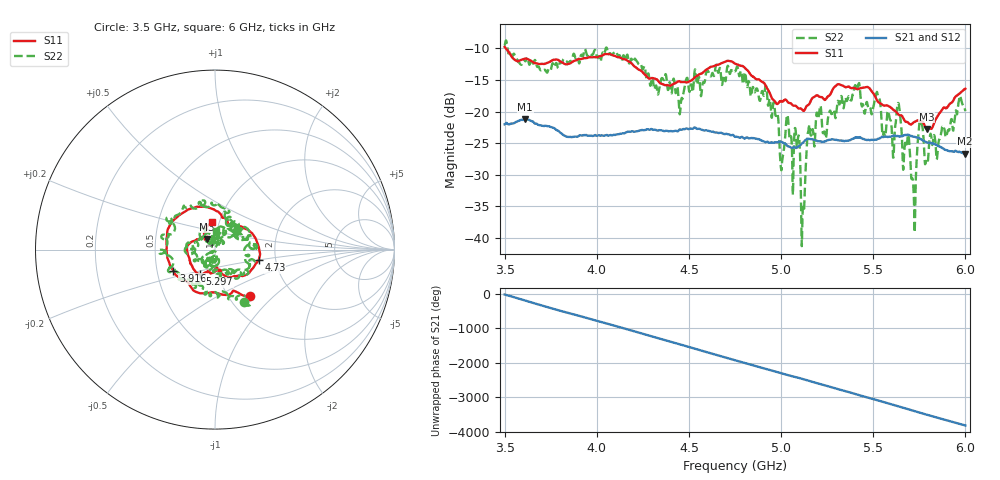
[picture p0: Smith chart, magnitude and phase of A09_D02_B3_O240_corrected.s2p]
! Created with skrf 1.9.0 (http://scikit-rf.org).
# Hz S RI R 50.0
!freq ReS11 ImS11 ReS21 ImS21 ReS12 ImS12 ReS22 ImS22
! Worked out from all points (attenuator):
!   1601 points, 3.5 GHz to 6 GHz, reference 50 ohm
!   highest |S21| = -21.22 dB at 3.611 GHz (marker M1); lowest = -26.7 dB at 5.997 GHz (marker M2)
!   lowest |S11| = -22.7 dB at 5.791 GHz (marker M3), VSWR 1.16, Z = 45.6 + j5.39 ohm
!   |S11| at or under -10 dB: 3.507 GHz to end of sweep
!   |S22| runs from -41.3 to -8.7 dB; largest |S21 - S12| = 0.00096
!   S11 on the Smith chart (normalised r, x): 3.5 GHz: 1.25, -0.73; 3.916 GHz: 0.61, -0.15; 4.73 GHz: 1.63, -0.20; 5.297 GHz: 0.82, -0.23; 6 GHz: 0.93, +0.29
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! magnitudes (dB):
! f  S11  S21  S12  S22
! 3.5 GHz  -9.8  -22.0  -22.0  -9.5
! 3.611 GHz  -11.6  -21.2  -21.2  -12.0
! 3.916 GHz  -11.7  -23.8  -23.8  -11.0
! 3.917 GHz  -11.7  -23.8  -23.8  -11.0
! 4.334 GHz  -15.2  -23.0  -22.9  -17.1
! 4.73 GHz  -12.0  -23.7  -23.6  -13.4
! 4.75 GHz  -12.4  -24.0  -23.9  -13.6
! 4.969 GHz  -18.5  -24.8  -24.8  -20.4
! 5.005 GHz  -18.3  -24.8  -24.8  -28.1
! 5.086 GHz  -19.3  -25.7  -25.6  -25.7
! 5.119 GHz  -19.8  -24.9  -24.8  -35.1
! 5.145 GHz  -19.0  -24.3  -24.3  -23.3
! 5.167 GHz  -17.9  -24.3  -24.3  -23.0
! 5.297 GHz  -15.9  -24.5  -24.4  -20.8
! 5.412 GHz  -16.4  -24.1  -24.1  -16.1
! 5.584 GHz  -19.1  -24.0  -23.9  -20.2
! 5.639 GHz  -20.5  -23.9  -23.9  -18.9
! 5.719 GHz  -21.7  -23.9  -23.9  -32.5
! 5.755 GHz  -21.5  -24.3  -24.2  -21.6
! 5.791 GHz  -22.7  -24.8  -24.8  -27.4
! 5.997 GHz  -16.4  -26.7  -26.6  -19.6
! 6 GHz  -16.4  -26.6  -26.6  -19.9
